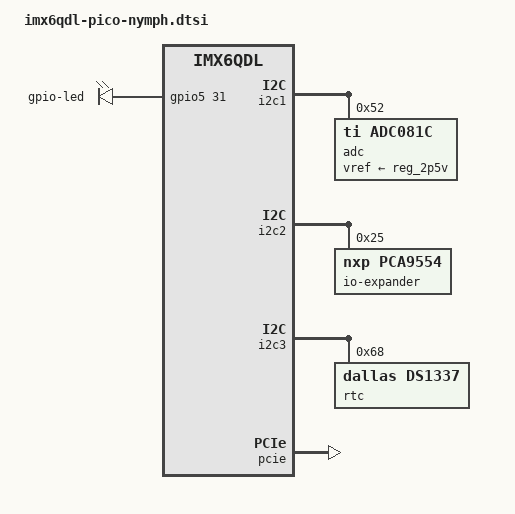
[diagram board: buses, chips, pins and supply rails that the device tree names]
// SPDX-License-Identifier: GPL-2.0+ OR MIT

#include "imx6qdl-pico.dtsi"

/ {
	leds {
		compatible = "gpio-leds";
		pinctrl-names = "default";
		pinctrl-0 = <&pinctrl_gpio_leds>;

		led {
			label = "gpio-led";
			gpios = <&gpio5 31 GPIO_ACTIVE_HIGH>;
		};
	};

};

&i2c1 {
	adc@52 {
		compatible = "ti,adc081c";
		reg = <0x52>;
		vref-supply = <&reg_2p5v>;
	};
};

&i2c2 {
	io-expander@25 {
		compatible = "nxp,pca9554";
		reg = <0x25>;
		gpio-controller;
		#gpio-cells = <2>;
		#interrupt-cells = <2>;
	};
};

&i2c3 {
	rtc@68 {
		compatible = "dallas,ds1337";
		reg = <0x68>;
	};
};

&pcie {
	status = "okay";
};

&iomuxc {
	pinctrl_gpio_leds: gpioledsgrp {
		fsl,pins = <
			MX6QDL_PAD_CSI0_DAT13__GPIO5_IO31	0x1b0b0
		>;
	};
};
